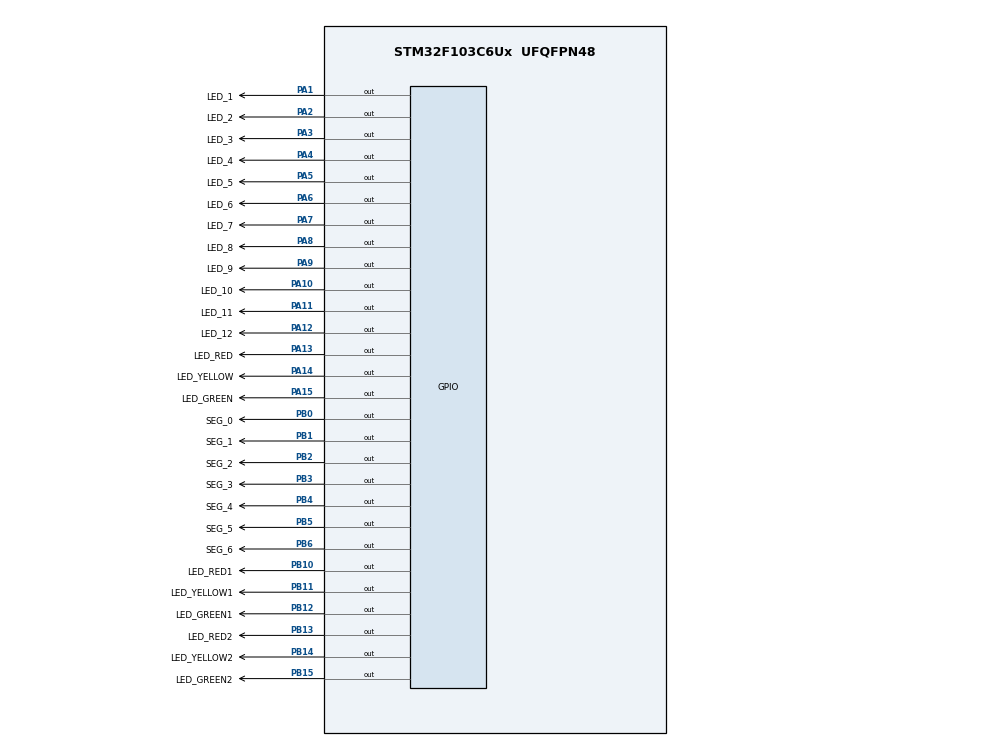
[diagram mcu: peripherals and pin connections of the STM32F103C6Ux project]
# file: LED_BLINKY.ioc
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Mcu.Family=STM32F1
Mcu.Name=STM32F103C6Ux
Mcu.Package=UFQFPN48
NVIC.PriorityGroup=NVIC_PRIORITYGROUP_4
PA1.GPIO_Label=LED_1
PA1.Signal=GPIO_Output
PA10.GPIO_Label=LED_10
PA10.Signal=GPIO_Output
PA11.GPIO_Label=LED_11
PA11.Signal=GPIO_Output
PA12.GPIO_Label=LED_12
PA12.Signal=GPIO_Output
PA13.GPIO_Label=LED_RED
PA13.Signal=GPIO_Output
PA14.GPIO_Label=LED_YELLOW
PA14.Signal=GPIO_Output
PA15.GPIO_Label=LED_GREEN
PA15.Signal=GPIO_Output
PA2.GPIO_Label=LED_2
PA2.Signal=GPIO_Output
PA3.GPIO_Label=LED_3
PA3.Signal=GPIO_Output
PA4.GPIO_Label=LED_4
PA4.Signal=GPIO_Output
PA5.GPIO_Label=LED_5
PA5.Signal=GPIO_Output
PA6.GPIO_Label=LED_6
PA6.Signal=GPIO_Output
PA7.GPIO_Label=LED_7
PA7.Signal=GPIO_Output
PA8.GPIO_Label=LED_8
PA8.Signal=GPIO_Output
PA9.GPIO_Label=LED_9
PA9.Signal=GPIO_Output
PB0.GPIO_Label=SEG_0
PB0.Signal=GPIO_Output
PB1.GPIO_Label=SEG_1
PB1.Signal=GPIO_Output
PB10.GPIO_Label=LED_RED1
PB10.Signal=GPIO_Output
PB11.GPIO_Label=LED_YELLOW1
PB11.Signal=GPIO_Output
PB12.GPIO_Label=LED_GREEN1
PB12.Signal=GPIO_Output
PB13.GPIO_Label=LED_RED2
PB13.Signal=GPIO_Output
PB14.GPIO_Label=LED_YELLOW2
PB14.Signal=GPIO_Output
PB15.GPIO_Label=LED_GREEN2
PB15.Signal=GPIO_Output
PB2.GPIO_Label=SEG_2
PB2.Signal=GPIO_Output
PB3.GPIO_Label=SEG_3
PB3.Signal=GPIO_Output
PB4.GPIO_Label=SEG_4
PB4.Signal=GPIO_Output
PB5.GPIO_Label=SEG_5
PB5.Signal=GPIO_Output
PB6.GPIO_Label=SEG_6
PB6.Signal=GPIO_Output
ProjectManager.HeapSize=0x200
ProjectManager.StackSize=0x400
ProjectManager.TargetToolchain=STM32CubeIDE
RCC.APB1Freq_Value=8000000
RCC.APB2Freq_Value=8000000
VP_SYS_VS_ND.Mode=No_Debug
board=custom

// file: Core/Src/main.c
/* USER CODE BEGIN Header */
/**
  ******************************************************************************
  * @file           : main.c
  * @brief          : Main program body
  ******************************************************************************
  * @attention
  *
  * <h2><center>&copy; Copyright (c) 2024 STMicroelectronics.
  * All rights reserved.</center></h2>
  *
  * This software component is licensed by ST under BSD 3-Clause license,
  * the "License"; You may not use this file except in compliance with the
  * License. You may obtain a copy of the License at:
  *                        opensource.org/licenses/BSD-3-Clause
  *
  ******************************************************************************
  */
/* USER CODE END Header */
#include "main.h"

/* USER CODE BEGIN PV */
int counter = 0;
int counter1 = 0;
int LED_ON = 0;
int second = 0;
int minute = 0;
int hour = 0;
/* USER CODE END PV */

void SystemClock_Config(void);
static void MX_GPIO_Init(void);

int main(void)
{

  /* MCU Configuration--------------------------------------------------------*/

  /* Reset of all peripherals, Initializes the Flash interface and the Systick. */
  HAL_Init();

  /* USER CODE BEGIN Init */
  initExercise1();
  //initExercise3();
  //initExercise4();
  initExercise5();
  //initExercise6();
  //initExercise10();
  /* USER CODE END Init */

  /* Configure the system clock */
  SystemClock_Config();

  /* Initialize all configured peripherals */
  MX_GPIO_Init();

  /* Infinite loop */
  /* USER CODE BEGIN WHILE */
  while (1)
  {
	  //Example();
	  runExercise1();
	  //runExercise3();
	  //runExercise4();
	  runExercise5();
	  //runExercise6();
	  //runExercise10();
	  HAL_Delay(1000);
    /* USER CODE END WHILE */

  }
}

void SystemClock_Config(void)
{
  RCC_OscInitTypeDef RCC_OscInitStruct = {0};
  RCC_ClkInitTypeDef RCC_ClkInitStruct = {0};

  /** Initializes the RCC Oscillators according to the specified parameters
  * in the RCC_OscInitTypeDef structure.
  */
  RCC_OscInitStruct.OscillatorType = RCC_OSCILLATORTYPE_HSI;
  RCC_OscInitStruct.HSIState = RCC_HSI_ON;
  RCC_OscInitStruct.HSICalibrationValue = RCC_HSICALIBRATION_DEFAULT;
  RCC_OscInitStruct.PLL.PLLState = RCC_PLL_NONE;
  if (HAL_RCC_OscConfig(&RCC_OscInitStruct) != HAL_OK)
  {
    Error_Handler();
  }
  /** Initializes the CPU, AHB and APB buses clocks
  */
  RCC_ClkInitStruct.ClockType = RCC_CLOCKTYPE_HCLK|RCC_CLOCKTYPE_SYSCLK
                              |RCC_CLOCKTYPE_PCLK1|RCC_CLOCKTYPE_PCLK2;
  RCC_ClkInitStruct.SYSCLKSource = RCC_SYSCLKSOURCE_HSI;
  RCC_ClkInitStruct.AHBCLKDivider = RCC_SYSCLK_DIV1;
  RCC_ClkInitStruct.APB1CLKDivider = RCC_HCLK_DIV1;
  RCC_ClkInitStruct.APB2CLKDivider = RCC_HCLK_DIV1;

  if (HAL_RCC_ClockConfig(&RCC_ClkInitStruct, FLASH_LATENCY_0) != HAL_OK)
  {
    Error_Handler();
  }
}

static void MX_GPIO_Init(void)
{
  GPIO_InitTypeDef GPIO_InitStruct = {0};

  /* GPIO Ports Clock Enable */
  __HAL_RCC_GPIOA_CLK_ENABLE();
  __HAL_RCC_GPIOB_CLK_ENABLE();

  /*Configure GPIO pin Output Level */
  HAL_GPIO_WritePin(GPIOA, LED_1_Pin|LED_2_Pin|LED_3_Pin|LED_4_Pin
                          |LED_5_Pin|LED_6_Pin|LED_7_Pin|LED_8_Pin
                          |LED_9_Pin|LED_10_Pin|LED_11_Pin|LED_12_Pin
                          |LED_RED_Pin|LED_YELLOW_Pin|LED_GREEN_Pin, GPIO_PIN_RESET);

  /*Configure GPIO pin Output Level */
  HAL_GPIO_WritePin(GPIOB, SEG_0_Pin|SEG_1_Pin|SEG_2_Pin|LED_RED1_Pin
                          |LED_YELLOW1_Pin|LED_GREEN1_Pin|LED_RED2_Pin|LED_YELLOW2_Pin
                          |LED_GREEN2_Pin|SEG_3_Pin|SEG_4_Pin|SEG_5_Pin
                          |SEG_6_Pin, GPIO_PIN_RESET);

  /*Configure GPIO pins : LED_1_Pin LED_2_Pin LED_3_Pin LED_4_Pin
                           LED_5_Pin LED_6_Pin LED_7_Pin LED_8_Pin
                           LED_9_Pin LED_10_Pin LED_11_Pin LED_12_Pin
                           LED_RED_Pin LED_YELLOW_Pin LED_GREEN_Pin */
  GPIO_InitStruct.Pin = LED_1_Pin|LED_2_Pin|LED_3_Pin|LED_4_Pin
                          |LED_5_Pin|LED_6_Pin|LED_7_Pin|LED_8_Pin
                          |LED_9_Pin|LED_10_Pin|LED_11_Pin|LED_12_Pin
                          |LED_RED_Pin|LED_YELLOW_Pin|LED_GREEN_Pin;
  GPIO_InitStruct.Mode = GPIO_MODE_OUTPUT_PP;
  GPIO_InitStruct.Pull = GPIO_NOPULL;
  GPIO_InitStruct.Speed = GPIO_SPEED_FREQ_LOW;
  HAL_GPIO_Init(GPIOA, &GPIO_InitStruct);

  /*Configure GPIO pins : SEG_0_Pin SEG_1_Pin SEG_2_Pin LED_RED1_Pin
                           LED_YELLOW1_Pin LED_GREEN1_Pin LED_RED2_Pin LED_YELLOW2_Pin
                           LED_GREEN2_Pin SEG_3_Pin SEG_4_Pin SEG_5_Pin
                           SEG_6_Pin */
  GPIO_InitStruct.Pin = SEG_0_Pin|SEG_1_Pin|SEG_2_Pin|LED_RED1_Pin
                          |LED_YELLOW1_Pin|LED_GREEN1_Pin|LED_RED2_Pin|LED_YELLOW2_Pin
                          |LED_GREEN2_Pin|SEG_3_Pin|SEG_4_Pin|SEG_5_Pin
                          |SEG_6_Pin;
  GPIO_InitStruct.Mode = GPIO_MODE_OUTPUT_PP;
  GPIO_InitStruct.Pull = GPIO_NOPULL;
  GPIO_InitStruct.Speed = GPIO_SPEED_FREQ_LOW;
  HAL_GPIO_Init(GPIOB, &GPIO_InitStruct);

}

/* USER CODE BEGIN 4 */
//void Example(){
//	HAL_GPIO_TogglePin(LED_RED_GPIO_Port, LED_RED_Pin);
//}
void initExercise1(){
	counter1 = 0;
}
void runExercise1(){
	switch(counter1){
		case 0:
			HAL_GPIO_WritePin(LED_RED_GPIO_Port, LED_RED_Pin, SET);
			HAL_GPIO_WritePin(LED_YELLOW_GPIO_Port, LED_YELLOW_Pin, RESET);
			counter1++;
			break;
		case 1:
			counter1++;
			break;
		case 2:
			HAL_GPIO_TogglePin(LED_RED_GPIO_Port, LED_RED_Pin);
			HAL_GPIO_TogglePin(LED_YELLOW_GPIO_Port, LED_YELLOW_Pin);
			counter1 = 0;
			break;
		default:
			counter1 = 0;
	}
}
void initExercise2(){
	LED_ON = LED_RED;
	counter1 = 0;
}
void runExercise2(){
	switch(LED_ON){
		case LED_RED:
			HAL_GPIO_WritePin(LED_RED_GPIO_Port, LED_RED_Pin, RESET);
			HAL_GPIO_WritePin(LED_YELLOW_GPIO_Port, LED_YELLOW_Pin, SET);
			HAL_GPIO_WritePin(LED_GREEN_GPIO_Port, LED_GREEN_Pin, SET);
			counter1++;
			if(counter1>=5){
				LED_ON = LED_GREEN;
				counter1 = 0;
			}
			break;
		case LED_YELLOW:
			HAL_GPIO_WritePin(LED_RED_GPIO_Port, LED_RED_Pin, SET);
			HAL_GPIO_WritePin(LED_YELLOW_GPIO_Port, LED_YELLOW_Pin, RESET);
			HAL_GPIO_WritePin(LED_GREEN_GPIO_Port, LED_GREEN_Pin, SET);
			counter1++;
			if(counter1>=2){
				LED_ON = LED_RED;
				counter1 = 0;
			}
			break;
		case LED_GREEN:
			HAL_GPIO_WritePin(LED_RED_GPIO_Port, LED_RED_Pin, SET);
			HAL_GPIO_WritePin(LED_YELLOW_GPIO_Port, LED_YELLOW_Pin, SET);
			HAL_GPIO_WritePin(LED_GREEN_GPIO_Port, LED_GREEN_Pin, RESET);
			counter1++;
			if(counter1>=3){
				LED_ON = LED_YELLOW;
				counter1 = 0;
			}
			break;
		default:
			LED_ON = LED_RED;
			counter1 = 0;
	}
}
void initExercise3(){
	LED_ON = LED_RED;
	counter = 0;
}
void runExercise3(){
	switch(LED_ON){
		case LED_RED:
			HAL_GPIO_WritePin(LED_RED1_GPIO_Port, LED_RED1_Pin, SET);
			HAL_GPIO_WritePin(LED_YELLOW1_GPIO_Port, LED_YELLOW1_Pin, RESET);
			HAL_GPIO_WritePin(LED_GREEN1_GPIO_Port, LED_GREEN1_Pin, RESET);
			if(counter>=3){
				HAL_GPIO_WritePin(LED_RED2_GPIO_Port, LED_RED2_Pin, RESET);
				HAL_GPIO_WritePin(LED_YELLOW2_GPIO_Port, LED_YELLOW2_Pin, SET);
				HAL_GPIO_WritePin(LED_GREEN2_GPIO_Port, LED_GREEN2_Pin, RESET);
			}
			else{
				HAL_GPIO_WritePin(LED_RED2_GPIO_Port, LED_RED2_Pin, RESET);
				HAL_GPIO_WritePin(LED_YELLOW2_GPIO_Port, LED_YELLOW2_Pin, RESET);
				HAL_GPIO_WritePin(LED_GREEN2_GPIO_Port, LED_GREEN2_Pin, SET);
			}
			counter++;
			if(counter>=5){
				LED_ON = LED_GREEN;
				counter = 0;
			}
			break;
		case LED_YELLOW:
			HAL_GPIO_WritePin(LED_RED1_GPIO_Port, LED_RED1_Pin, RESET);
			HAL_GPIO_WritePin(LED_YELLOW1_GPIO_Port, LED_YELLOW1_Pin, SET);
			HAL_GPIO_WritePin(LED_GREEN1_GPIO_Port, LED_GREEN1_Pin, RESET);
			HAL_GPIO_WritePin(LED_RED2_GPIO_Port, LED_RED2_Pin, SET);
			HAL_GPIO_WritePin(LED_YELLOW2_GPIO_Port, LED_YELLOW2_Pin, RESET);
			HAL_GPIO_WritePin(LED_GREEN2_GPIO_Port, LED_GREEN2_Pin, RESET);
			counter++;
			if(counter>=2){
				LED_ON = LED_RED;
				counter = 0;
			}
			break;
		case LED_GREEN:
			HAL_GPIO_WritePin(LED_RED1_GPIO_Port, LED_RED1_Pin, RESET);
			HAL_GPIO_WritePin(LED_YELLOW1_GPIO_Port, LED_YELLOW1_Pin, RESET);
			HAL_GPIO_WritePin(LED_GREEN1_GPIO_Port, LED_GREEN1_Pin, SET);
			HAL_GPIO_WritePin(LED_RED2_GPIO_Port, LED_RED2_Pin, SET);
			HAL_GPIO_WritePin(LED_YELLOW2_GPIO_Port, LED_YELLOW2_Pin, RESET);
			HAL_GPIO_WritePin(LED_GREEN2_GPIO_Port, LED_GREEN2_Pin, RESET);
			counter++;
			if(counter>=3){
				LED_ON = LED_YELLOW;
				counter = 0;
			}
			break;
		default:
			LED_ON = LED_RED;
			counter = 0;
	}
}
void display7SEG(int num){
	switch(num){
		case 0:
			HAL_GPIO_WritePin(SEG_0_GPIO_Port, SEG_0_Pin, RESET);
			HAL_GPIO_WritePin(SEG_1_GPIO_Port, SEG_1_Pin, RESET);
			HAL_GPIO_WritePin(SEG_2_GPIO_Port, SEG_2_Pin, RESET);
			HAL_GPIO_WritePin(SEG_3_GPIO_Port, SEG_3_Pin, RESET);
			HAL_GPIO_WritePin(SEG_4_GPIO_Port, SEG_4_Pin, RESET);
			HAL_GPIO_WritePin(SEG_5_GPIO_Port, SEG_5_Pin, RESET);
			HAL_GPIO_WritePin(SEG_6_GPIO_Port, SEG_6_Pin, SET);
			break;
		case 1:
			HAL_GPIO_WritePin(SEG_0_GPIO_Port, SEG_0_Pin, SET);
			HAL_GPIO_WritePin(SEG_1_GPIO_Port, SEG_1_Pin, RESET);
			HAL_GPIO_WritePin(SEG_2_GPIO_Port, SEG_2_Pin, RESET);
			HAL_GPIO_WritePin(SEG_3_GPIO_Port, SEG_3_Pin, SET);
			HAL_GPIO_WritePin(SEG_4_GPIO_Port, SEG_4_Pin, SET);
			HAL_GPIO_WritePin(SEG_5_GPIO_Port, SEG_5_Pin, SET);
			HAL_GPIO_WritePin(SEG_6_GPIO_Port, SEG_6_Pin, SET);
			break;
		case 2:
			HAL_GPIO_WritePin(SEG_0_GPIO_Port, SEG_0_Pin, RESET);
			HAL_GPIO_WritePin(SEG_1_GPIO_Port, SEG_1_Pin, RESET);
			HAL_GPIO_WritePin(SEG_2_GPIO_Port, SEG_2_Pin, SET);
			HAL_GPIO_WritePin(SEG_3_GPIO_Port, SEG_3_Pin, RESET);
			HAL_GPIO_WritePin(SEG_4_GPIO_Port, SEG_4_Pin, RESET);
			HAL_GPIO_WritePin(SEG_5_GPIO_Port, SEG_5_Pin, SET);
			HAL_GPIO_WritePin(SEG_6_GPIO_Port, SEG_6_Pin, RESET);
			break;
		case 3:
			HAL_GPIO_WritePin(SEG_0_GPIO_Port, SEG_0_Pin, RESET);
			HAL_GPIO_WritePin(SEG_1_GPIO_Port, SEG_1_Pin, RESET);
			HAL_GPIO_WritePin(SEG_2_GPIO_Port, SEG_2_Pin, RESET);
			HAL_GPIO_WritePin(SEG_3_GPIO_Port, SEG_3_Pin, RESET);
			HAL_GPIO_WritePin(SEG_4_GPIO_Port, SEG_4_Pin, SET);
			HAL_GPIO_WritePin(SEG_5_GPIO_Port, SEG_5_Pin, SET);
			HAL_GPIO_WritePin(SEG_6_GPIO_Port, SEG_6_Pin, RESET);
			break;
		case 4:
			HAL_GPIO_WritePin(SEG_0_GPIO_Port, SEG_0_Pin, SET);
			HAL_GPIO_WritePin(SEG_1_GPIO_Port, SEG_1_Pin, RESET);
			HAL_GPIO_WritePin(SEG_2_GPIO_Port, SEG_2_Pin, RESET);
			HAL_GPIO_WritePin(SEG_3_GPIO_Port, SEG_3_Pin, SET);
			HAL_GPIO_WritePin(SEG_4_GPIO_Port, SEG_4_Pin, SET);
			HAL_GPIO_WritePin(SEG_5_GPIO_Port, SEG_5_Pin, RESET);
			HAL_GPIO_WritePin(SEG_6_GPIO_Port, SEG_6_Pin, RESET);
			break;
		case 5:
			HAL_GPIO_WritePin(SEG_0_GPIO_Port, SEG_0_Pin, RESET);
			HAL_GPIO_WritePin(SEG_1_GPIO_Port, SEG_1_Pin, SET);
			HAL_GPIO_WritePin(SEG_2_GPIO_Port, SEG_2_Pin, RESET);
			HAL_GPIO_WritePin(SEG_3_GPIO_Port, SEG_3_Pin, RESET);
			HAL_GPIO_WritePin(SEG_4_GPIO_Port, SEG_4_Pin, SET);
			HAL_GPIO_WritePin(SEG_5_GPIO_Port, SEG_5_Pin, RESET);
			HAL_GPIO_WritePin(SEG_6_GPIO_Port, SEG_6_Pin, RESET);
			break;
		case 6:
			HAL_GPIO_WritePin(SEG_0_GPIO_Port, SEG_0_Pin, RESET);
			HAL_GPIO_WritePin(SEG_1_GPIO_Port, SEG_1_Pin, SET);
			HAL_GPIO_WritePin(SEG_2_GPIO_Port, SEG_2_Pin, RESET);
			HAL_GPIO_WritePin(SEG_3_GPIO_Port, SEG_3_Pin, RESET);
			HAL_GPIO_WritePin(SEG_4_GPIO_Port, SEG_4_Pin, RESET);
			HAL_GPIO_WritePin(SEG_5_GPIO_Port, SEG_5_Pin, RESET);
			HAL_GPIO_WritePin(SEG_6_GPIO_Port, SEG_6_Pin, RESET);
			break;
		case 7:
			HAL_GPIO_WritePin(SEG_0_GPIO_Port, SEG_0_Pin, RESET);
			HAL_GPIO_WritePin(SEG_1_GPIO_Port, SEG_1_Pin, RESET);
			HAL_GPIO_WritePin(SEG_2_GPIO_Port, SEG_2_Pin, RESET);
			HAL_GPIO_WritePin(SEG_3_GPIO_Port, SEG_3_Pin, SET);
			HAL_GPIO_WritePin(SEG_4_GPIO_Port, SEG_4_Pin, SET);
			HAL_GPIO_WritePin(SEG_5_GPIO_Port, SEG_5_Pin, SET);
			HAL_GPIO_WritePin(SEG_6_GPIO_Port, SEG_6_Pin, SET);
			break;
		case 8:
			HAL_GPIO_WritePin(SEG_0_GPIO_Port, SEG_0_Pin, RESET);
			HAL_GPIO_WritePin(SEG_1_GPIO_Port, SEG_1_Pin, RESET);
			HAL_GPIO_WritePin(SEG_2_GPIO_Port, SEG_2_Pin, RESET);
			HAL_GPIO_WritePin(SEG_3_GPIO_Port, SEG_3_Pin, RESET);
			HAL_GPIO_WritePin(SEG_4_GPIO_Port, SEG_4_Pin, RESET);
			HAL_GPIO_WritePin(SEG_5_GPIO_Port, SEG_5_Pin, RESET);
			HAL_GPIO_WritePin(SEG_6_GPIO_Port, SEG_6_Pin, RESET);
			break;
		case 9:
			HAL_GPIO_WritePin(SEG_0_GPIO_Port, SEG_0_Pin, RESET);
			HAL_GPIO_WritePin(SEG_1_GPIO_Port, SEG_1_Pin, RESET);
			HAL_GPIO_WritePin(SEG_2_GPIO_Port, SEG_2_Pin, RESET);
			HAL_GPIO_WritePin(SEG_3_GPIO_Port, SEG_3_Pin, RESET);
			HAL_GPIO_WritePin(SEG_4_GPIO_Port, SEG_4_Pin, SET);
			HAL_GPIO_WritePin(SEG_5_GPIO_Port, SEG_5_Pin, RESET);
			HAL_GPIO_WritePin(SEG_6_GPIO_Port, SEG_6_Pin, RESET);
	}
}
void display7SEG1(int num){
	switch(num){
		case 0:
			HAL_GPIO_WritePin(LED_1_GPIO_Port, LED_1_Pin, RESET);
			HAL_GPIO_WritePin(LED_2_GPIO_Port, LED_2_Pin, RESET);
			HAL_GPIO_WritePin(LED_3_GPIO_Port, LED_3_Pin, RESET);
			HAL_GPIO_WritePin(LED_4_GPIO_Port, LED_4_Pin, RESET);
			HAL_GPIO_WritePin(LED_5_GPIO_Port, LED_5_Pin, RESET);
			HAL_GPIO_WritePin(LED_6_GPIO_Port, LED_6_Pin, RESET);
			HAL_GPIO_WritePin(LED_7_GPIO_Port, LED_7_Pin, SET);
			break;
		case 1:
			HAL_GPIO_WritePin(LED_1_GPIO_Port, LED_1_Pin, SET);
			HAL_GPIO_WritePin(LED_2_GPIO_Port, LED_2_Pin, RESET);
			HAL_GPIO_WritePin(LED_3_GPIO_Port, LED_3_Pin, RESET);
			HAL_GPIO_WritePin(LED_4_GPIO_Port, LED_4_Pin, SET);
			HAL_GPIO_WritePin(LED_5_GPIO_Port, LED_5_Pin, SET);
			HAL_GPIO_WritePin(LED_6_GPIO_Port, LED_6_Pin, SET);
			HAL_GPIO_WritePin(LED_7_GPIO_Port, LED_7_Pin, SET);
			break;
		case 2:
			HAL_GPIO_WritePin(LED_1_GPIO_Port, LED_1_Pin, RESET);
			HAL_GPIO_WritePin(LED_2_GPIO_Port, LED_2_Pin, RESET);
			HAL_GPIO_WritePin(LED_3_GPIO_Port, LED_3_Pin, SET);
			HAL_GPIO_WritePin(LED_4_GPIO_Port, LED_4_Pin, RESET);
			HAL_GPIO_WritePin(LED_5_GPIO_Port, LED_5_Pin, RESET);
			HAL_GPIO_WritePin(LED_6_GPIO_Port, LED_6_Pin, SET);
			HAL_GPIO_WritePin(LED_7_GPIO_Port, LED_7_Pin, RESET);
			break;
		case 3:
			HAL_GPIO_WritePin(LED_1_GPIO_Port, LED_1_Pin, RESET);
			HAL_GPIO_WritePin(LED_2_GPIO_Port, LED_2_Pin, RESET);
			HAL_GPIO_WritePin(LED_3_GPIO_Port, LED_3_Pin, RESET);
			HAL_GPIO_WritePin(LED_4_GPIO_Port, LED_4_Pin, RESET);
			HAL_GPIO_WritePin(LED_5_GPIO_Port, LED_5_Pin, SET);
			HAL_GPIO_WritePin(LED_6_GPIO_Port, LED_6_Pin, SET);
			HAL_GPIO_WritePin(LED_7_GPIO_Port, LED_7_Pin, RESET);
			break;
		case 4:
			HAL_GPIO_WritePin(LED_1_GPIO_Port, LED_1_Pin, SET);
			HAL_GPIO_WritePin(LED_2_GPIO_Port, LED_2_Pin, RESET);
			HAL_GPIO_WritePin(LED_3_GPIO_Port, LED_3_Pin, RESET);
			HAL_GPIO_WritePin(LED_4_GPIO_Port, LED_4_Pin, SET);
			HAL_GPIO_WritePin(LED_5_GPIO_Port, LED_5_Pin, SET);
			HAL_GPIO_WritePin(LED_6_GPIO_Port, LED_6_Pin, RESET);
			HAL_GPIO_WritePin(LED_7_GPIO_Port, LED_7_Pin, RESET);
			break;
		case 5:
			HAL_GPIO_WritePin(LED_1_GPIO_Port, LED_1_Pin, RESET);
			HAL_GPIO_WritePin(LED_2_GPIO_Port, LED_2_Pin, SET);
			HAL_GPIO_WritePin(LED_3_GPIO_Port, LED_3_Pin, RESET);
			HAL_GPIO_WritePin(LED_4_GPIO_Port, LED_4_Pin, RESET);
			HAL_GPIO_WritePin(LED_5_GPIO_Port, LED_5_Pin, SET);
			HAL_GPIO_WritePin(LED_6_GPIO_Port, LED_6_Pin, RESET);
			HAL_GPIO_WritePin(LED_7_GPIO_Port, LED_7_Pin, RESET);
			break;
		case 6:
			HAL_GPIO_WritePin(LED_1_GPIO_Port, LED_1_Pin, RESET);
			HAL_GPIO_WritePin(LED_2_GPIO_Port, LED_2_Pin, SET);
			HAL_GPIO_WritePin(LED_3_GPIO_Port, LED_3_Pin, RESET);
			HAL_GPIO_WritePin(LED_4_GPIO_Port, LED_4_Pin, RESET);
			HAL_GPIO_WritePin(LED_5_GPIO_Port, LED_5_Pin, RESET);
			HAL_GPIO_WritePin(LED_6_GPIO_Port, LED_6_Pin, RESET);
			HAL_GPIO_WritePin(LED_7_GPIO_Port, LED_7_Pin, RESET);
			break;
		case 7:
			HAL_GPIO_WritePin(LED_1_GPIO_Port, LED_1_Pin, RESET);
			HAL_GPIO_WritePin(LED_2_GPIO_Port, LED_2_Pin, RESET);
			HAL_GPIO_WritePin(LED_3_GPIO_Port, LED_3_Pin, RESET);
			HAL_GPIO_WritePin(LED_4_GPIO_Port, LED_4_Pin, SET);
			HAL_GPIO_WritePin(LED_5_GPIO_Port, LED_5_Pin, SET);
			HAL_GPIO_WritePin(LED_6_GPIO_Port, LED_6_Pin, SET);
			HAL_GPIO_WritePin(LED_7_GPIO_Port, LED_7_Pin, SET);
			break;
		case 8:
			HAL_GPIO_WritePin(LED_1_GPIO_Port, LED_1_Pin, RESET);
			HAL_GPIO_WritePin(LED_2_GPIO_Port, LED_2_Pin, RESET);
			HAL_GPIO_WritePin(LED_3_GPIO_Port, LED_3_Pin, RESET);
			HAL_GPIO_WritePin(LED_4_GPIO_Port, LED_4_Pin, RESET);
			HAL_GPIO_WritePin(LED_5_GPIO_Port, LED_5_Pin, RESET);
			HAL_GPIO_WritePin(LED_6_GPIO_Port, LED_6_Pin, RESET);
			HAL_GPIO_WritePin(LED_7_GPIO_Port, LED_7_Pin, RESET);
			break;
		case 9:
			HAL_GPIO_WritePin(LED_1_GPIO_Port, LED_1_Pin, RESET);
			HAL_GPIO_WritePin(LED_2_GPIO_Port, LED_2_Pin, RESET);
			HAL_GPIO_WritePin(LED_3_GPIO_Port, LED_3_Pin, RESET);
			HAL_GPIO_WritePin(LED_4_GPIO_Port, LED_4_Pin, RESET);
			HAL_GPIO_WritePin(LED_5_GPIO_Port, LED_5_Pin, SET);
			HAL_GPIO_WritePin(LED_6_GPIO_Port, LED_6_Pin, RESET);
			HAL_GPIO_WritePin(LED_7_GPIO_Port, LED_7_Pin, RESET);
	}
}
void initExercise4(){
	counter = 0;
}
void runExercise4(){
	if(counter>=10) counter = 0;
	display7SEG(counter++);
}
void initExercise5(){
	counter = 5;
	LED_ON = LED_RED;
}
void runExercise5(){
	switch(LED_ON){
		case LED_RED:
			display7SEG(counter);
			HAL_GPIO_WritePin(LED_RED1_GPIO_Port, LED_RED1_Pin, SET);
			HAL_GPIO_WritePin(LED_YELLOW1_GPIO_Port, LED_YELLOW1_Pin, RESET);
			HAL_GPIO_WritePin(LED_GREEN1_GPIO_Port, LED_GREEN1_Pin, RESET);
			if(counter<=2){
				HAL_GPIO_WritePin(LED_RED2_GPIO_Port, LED_RED2_Pin, RESET);
				HAL_GPIO_WritePin(LED_YELLOW2_GPIO_Port, LED_YELLOW2_Pin, SET);
				HAL_GPIO_WritePin(LED_GREEN2_GPIO_Port, LED_GREEN2_Pin, RESET);
				display7SEG1(counter);
			}
			else{
				HAL_GPIO_WritePin(LED_RED2_GPIO_Port, LED_RED2_Pin, RESET);
				HAL_GPIO_WritePin(LED_YELLOW2_GPIO_Port, LED_YELLOW2_Pin, RESET);
				HAL_GPIO_WritePin(LED_GREEN2_GPIO_Port, LED_GREEN2_Pin, SET);
				display7SEG1(counter-2);
			}
			counter--;
			if(counter<=0){
				LED_ON = LED_GREEN;
				counter = 3;
			}
			break;
		case LED_YELLOW:
			display7SEG(counter);
			HAL_GPIO_WritePin(LED_RED1_GPIO_Port, LED_RED1_Pin, RESET);
			HAL_GPIO_WritePin(LED_YELLOW1_GPIO_Port, LED_YELLOW1_Pin, SET);
			HAL_GPIO_WritePin(LED_GREEN1_GPIO_Port, LED_GREEN1_Pin, RESET);
			display7SEG1(counter);
			HAL_GPIO_WritePin(LED_RED2_GPIO_Port, LED_RED2_Pin, SET);
			HAL_GPIO_WritePin(LED_YELLOW2_GPIO_Port, LED_YELLOW2_Pin, RESET);
			HAL_GPIO_WritePin(LED_GREEN2_GPIO_Port, LED_GREEN2_Pin, RESET);
			counter--;
			if(counter<=0){
				LED_ON = LED_RED;
				counter = 5;
			}
			break;
		case LED_GREEN:
			display7SEG(counter);
			HAL_GPIO_WritePin(LED_RED1_GPIO_Port, LED_RED1_Pin, RESET);
			HAL_GPIO_WritePin(LED_YELLOW1_GPIO_Port, LED_YELLOW1_Pin, RESET);
			HAL_GPIO_WritePin(LED_GREEN1_GPIO_Port, LED_GREEN1_Pin, SET);
			display7SEG1(counter+2);
			HAL_GPIO_WritePin(LED_RED2_GPIO_Port, LED_RED2_Pin, SET);
			HAL_GPIO_WritePin(LED_YELLOW2_GPIO_Port, LED_YELLOW2_Pin, RESET);
			HAL_GPIO_WritePin(LED_GREEN2_GPIO_Port, LED_GREEN2_Pin, RESET);
			counter--;
			if(counter<=0){
				LED_ON = LED_YELLOW;
				counter = 2;
			}
			break;
		default:
			LED_ON = LED_RED;
			counter = 5;
	}
}
void initExercise6(){

}
void runExercise6(){
	HAL_GPIO_WritePin(LED_1_GPIO_Port, LED_1_Pin, SET);
	HAL_GPIO_WritePin(LED_2_GPIO_Port, LED_2_Pin, SET);
	HAL_GPIO_WritePin(LED_3_GPIO_Port, LED_3_Pin, SET);
	HAL_GPIO_WritePin(LED_4_GPIO_Port, LED_4_Pin, SET);
	HAL_GPIO_WritePin(LED_5_GPIO_Port, LED_5_Pin, SET);
	HAL_GPIO_WritePin(LED_6_GPIO_Port, LED_6_Pin, SET);
	HAL_GPIO_WritePin(LED_7_GPIO_Port, LED_7_Pin, SET);
	HAL_GPIO_WritePin(LED_8_GPIO_Port, LED_8_Pin, SET);
	HAL_GPIO_WritePin(LED_9_GPIO_Port, LED_9_Pin, SET);
	HAL_GPIO_WritePin(LED_10_GPIO_Port, LED_10_Pin, SET);
	HAL_GPIO_WritePin(LED_11_GPIO_Port, LED_11_Pin, SET);
	HAL_GPIO_WritePin(LED_12_GPIO_Port, LED_12_Pin, SET);
}
void clearAllClock(){
	HAL_GPIO_WritePin(LED_1_GPIO_Port, LED_1_Pin, RESET);
	HAL_GPIO_WritePin(LED_2_GPIO_Port, LED_2_Pin, RESET);
	HAL_GPIO_WritePin(LED_3_GPIO_Port, LED_3_Pin, RESET);
	HAL_GPIO_WritePin(LED_4_GPIO_Port, LED_4_Pin, RESET);
	HAL_GPIO_WritePin(LED_5_GPIO_Port, LED_5_Pin, RESET);
	HAL_GPIO_WritePin(LED_6_GPIO_Port, LED_6_Pin, RESET);
	HAL_GPIO_WritePin(LED_7_GPIO_Port, LED_7_Pin, RESET);
	HAL_GPIO_WritePin(LED_8_GPIO_Port, LED_8_Pin, RESET);
	HAL_GPIO_WritePin(LED_9_GPIO_Port, LED_9_Pin, RESET);
	HAL_GPIO_WritePin(LED_10_GPIO_Port, LED_10_Pin, RESET);
	HAL_GPIO_WritePin(LED_11_GPIO_Port, LED_11_Pin, RESET);
	HAL_GPIO_WritePin(LED_12_GPIO_Port, LED_12_Pin, RESET);
}
void initExercise7(){

}
void runExercise7(){

}
void setNumberOnClock(int num){
	switch(num){
		case 0:
			HAL_GPIO_WritePin(LED_12_GPIO_Port, LED_12_Pin, SET);
			break;
		case 1:
			HAL_GPIO_WritePin(LED_1_GPIO_Port, LED_1_Pin, SET);
			break;
		case 2:
			HAL_GPIO_WritePin(LED_2_GPIO_Port, LED_2_Pin, SET);
			break;
		case 3:
			HAL_GPIO_WritePin(LED_3_GPIO_Port, LED_3_Pin, SET);
			break;
		case 4:
			HAL_GPIO_WritePin(LED_4_GPIO_Port, LED_4_Pin, SET);
			break;
		case 5:
			HAL_GPIO_WritePin(LED_5_GPIO_Port, LED_5_Pin, SET);
			break;
		case 6:
			HAL_GPIO_WritePin(LED_6_GPIO_Port, LED_6_Pin, SET);
			break;
		case 7:
			HAL_GPIO_WritePin(LED_7_GPIO_Port, LED_7_Pin, SET);
			break;
		case 8:
			HAL_GPIO_WritePin(LED_8_GPIO_Port, LED_8_Pin,SET);
			break;
		case 9:
			HAL_GPIO_WritePin(LED_9_GPIO_Port, LED_9_Pin, SET);
			break;
		case 10:
			HAL_GPIO_WritePin(LED_10_GPIO_Port, LED_10_Pin, SET);
			break;
		case 11:
			HAL_GPIO_WritePin(LED_11_GPIO_Port, LED_11_Pin, SET);
	}
}
void initExercise8(){

}
void runExercise8(){

}
void clearNumberOnClock(int num){
	switch(num){
		case 0:
			HAL_GPIO_WritePin(LED_12_GPIO_Port, LED_12_Pin, RESET);
			break;
		case 1:
			HAL_GPIO_WritePin(LED_1_GPIO_Port, LED_1_Pin, RESET);
			break;
		case 2:
			HAL_GPIO_WritePin(LED_2_GPIO_Port, LED_2_Pin, RESET);
			break;
		case 3:
			HAL_GPIO_WritePin(LED_3_GPIO_Port, LED_3_Pin, RESET);
			break;
		case 4:
			HAL_GPIO_WritePin(LED_4_GPIO_Port, LED_4_Pin, RESET);
			break;
		case 5:
			HAL_GPIO_WritePin(LED_5_GPIO_Port, LED_5_Pin, RESET);
			break;
		case 6:
			HAL_GPIO_WritePin(LED_6_GPIO_Port, LED_6_Pin, RESET);
			break;
		case 7:
			HAL_GPIO_WritePin(LED_7_GPIO_Port, LED_7_Pin, RESET);
			break;
		case 8:
			HAL_GPIO_WritePin(LED_8_GPIO_Port, LED_8_Pin, RESET);
			break;
		case 9:
			HAL_GPIO_WritePin(LED_9_GPIO_Port, LED_9_Pin, RESET);
			break;
		case 10:
			HAL_GPIO_WritePin(LED_10_GPIO_Port, LED_10_Pin, RESET);
			break;
		case 11:
			HAL_GPIO_WritePin(LED_11_GPIO_Port, LED_11_Pin, RESET);
	}
}
void initExercise9(){

}
void runExercise9(){

}
void initExercise10(){
	second = 0;
	minute = 0;
	hour = 0;
}
void runExercise10(){
	if(second%5 == 0){
	clearAllClock();
	setNumberOnClock(second/5);
	setNumberOnClock(minute/5);
	setNumberOnClock(hour);
	}
	second++;
	if(second>=60){
		second = 0;
		minute++;
		if(minute>=60){
			minute = 0;
			hour++;
			if(hour>=12)
				hour = 0;
		}
	}
}
/* USER CODE END 4 */

void Error_Handler(void)
{
  __disable_irq();
  while (1)
  {
  }
}

/************************ (C) COPYRIGHT STMicroelectronics *****END OF FILE****/
